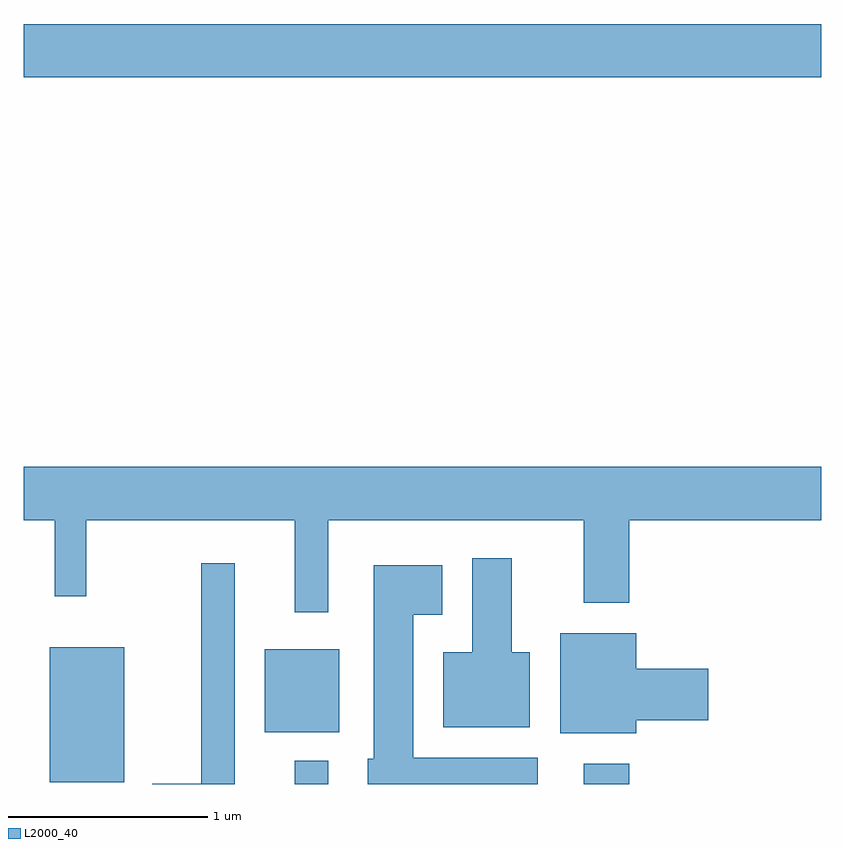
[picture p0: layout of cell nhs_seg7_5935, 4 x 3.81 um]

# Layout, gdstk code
import gdstk
lib = gdstk.Library(unit=1e-6, precision=1e-09)
def R(c, l, rs):  # rectangles x0, y0, x1, y1
    for r in rs: c.add(gdstk.rectangle(r[:2], r[2:], *l))
def P(c, l, *ps):  # polygons
    for p in ps: c.add(gdstk.Polygon(p, *l))
L2000_40 = (2000, 40)

nhs_seg7_5935 = lib.new_cell('nhs_seg7_5935')
R(nhs_seg7_5935, L2000_40, [(366.971,1786.252,367.139,1786.368), (368.421,1786.252,368.649,1786.354), (365.741,1786.261,366.114,1786.939), (366.821,1786.511,367.194,1786.929), (365.611,1789.796,369.611,1790.064)])
P(nhs_seg7_5935, L2000_40, [(367.139,1787.576),(368.421,1787.576),(368.421,1787.161),(368.649,1787.161),(368.649,1787.576),(369.611,1787.576),(369.611,1787.844),(365.611,1787.844),(365.611,1787.576),(365.766,1787.576),(365.766,1787.193),(365.924,1787.193),(365.924,1787.576),(366.971,1787.576),(366.971,1787.113),(367.139,1787.113)],
  [(368.149,1786.914),(368.059,1786.914),(368.059,1787.384),(367.861,1787.384),(367.861,1786.914),(367.716,1786.914),(367.716,1786.536),(368.149,1786.536)],
  [(366.669,1787.358),(366.501,1787.358),(366.501,1786.254),(366.256,1786.254),(366.256,1786.252),(366.669,1786.252)],
  [(368.189,1786.384),(367.564,1786.384),(367.564,1787.101),(367.709,1787.101),(367.709,1787.349),(367.366,1787.349),(367.366,1786.379),(367.336,1786.379),(367.336,1786.252),(368.189,1786.252)],
  [(368.684,1786.571),(369.044,1786.571),(369.044,1786.829),(368.684,1786.829),(368.684,1787.009),(368.301,1787.009),(368.301,1786.506),(368.684,1786.506)])

lib.write_gds('nhs_seg7_5935.gds')
